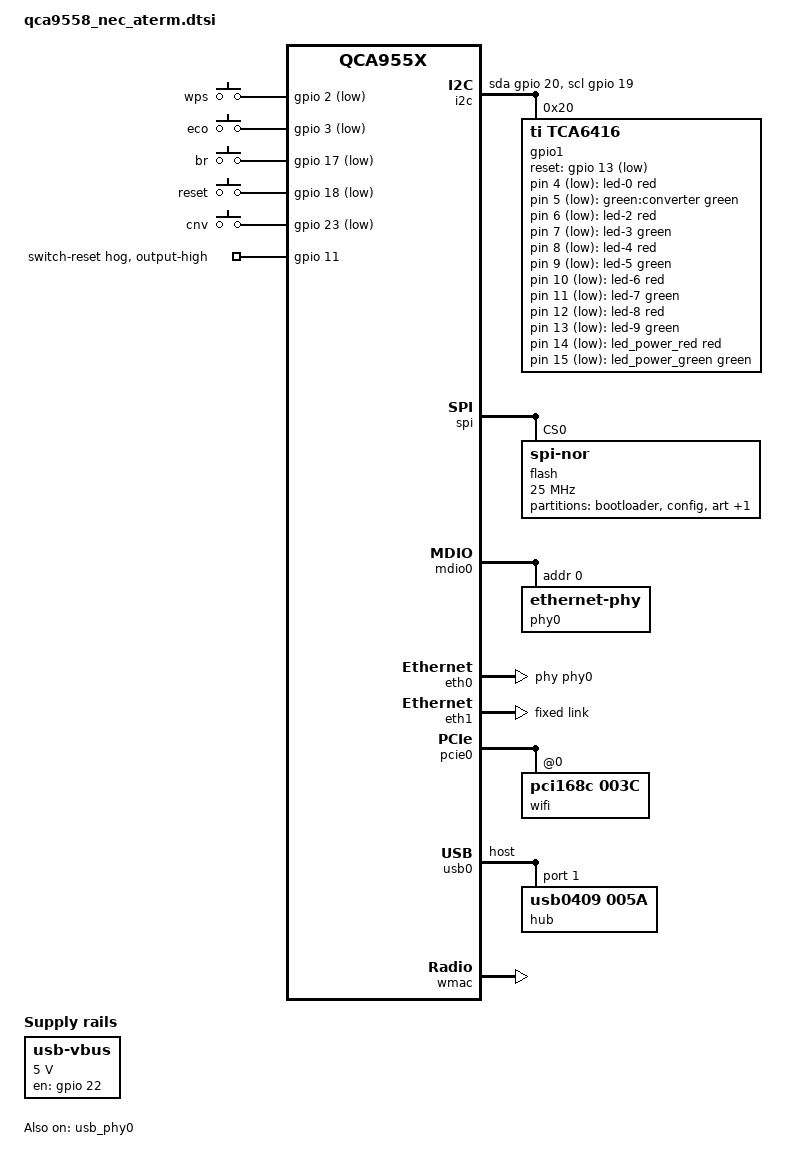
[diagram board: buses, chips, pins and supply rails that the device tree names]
// SPDX-License-Identifier: GPL-2.0-or-later OR MIT
/dts-v1/;

#include <dt-bindings/gpio/gpio.h>
#include <dt-bindings/input/input.h>
#include <dt-bindings/leds/common.h>

#include "qca955x.dtsi"

/ {
	chosen {
		/*
		 * don't specify bootargs property in DeviceTree to
		 * enable a console with a default baudrate (9600)
		 * or passed console= parameter from the bootloader
		 */
		/delete-property/ bootargs;
		stdout-path = &uart0;
	};

	aliases {
		led-boot = &led_power_green;
		led-failsafe = &led_power_red;
		led-running = &led_power_green;
		led-upgrade = &led_power_green;
		label-mac-device = &eth0;
	};

	i2c {
		compatible = "i2c-gpio";

		pinctrl-names = "default";
		pinctrl-0 = <&pmx_gpio_i2c_pins>;
		sda-gpios = <&gpio 20 (GPIO_ACTIVE_HIGH | GPIO_OPEN_DRAIN)>;
		scl-gpios = <&gpio 19 (GPIO_ACTIVE_HIGH | GPIO_OPEN_DRAIN)>;
		#address-cells = <1>;
		#size-cells = <0>;

		gpio1: gpio@20 {
			compatible = "ti,tca6416";
			reg = <0x20>;
			reset-gpios = <&gpio 13 GPIO_ACTIVE_LOW>;
			gpio-controller;
			#gpio-cells = <2>;

			usb-hub-reset {
				gpio-hog;
				gpios = <0 GPIO_ACTIVE_HIGH>;
				output-high;
			};
		};
	};

	keys {
		compatible = "gpio-keys";
		pinctrl-names = "default";
		pinctrl-0 = <&jtag_disable_pins>;

		button-wps {
			label = "wps";
			gpios = <&gpio 2 GPIO_ACTIVE_LOW>;
			linux,code = <KEY_WPS_BUTTON>;
			debounce-interval = <60>;
		};

		button-eco {
			label = "eco";
			gpios = <&gpio 3 GPIO_ACTIVE_LOW>;
			linux,code = <BTN_0>;
			debounce-interval = <60>;
		};

		switch-bridge {
			label = "br";
			gpios = <&gpio 17 GPIO_ACTIVE_LOW>;
			linux,code = <BTN_1>;
			debounce-interval = <60>;
		};

		button-reset {
			label = "reset";
			gpios = <&gpio 18 GPIO_ACTIVE_LOW>;
			linux,code = <KEY_RESTART>;
			debounce-interval = <60>;
		};

		switch-converter {
			label = "cnv";
			gpios = <&gpio 23 GPIO_ACTIVE_LOW>;
			linux,code = <BTN_2>;
			debounce-interval = <60>;
		};
	};

	leds {
		compatible = "gpio-leds";

		led-0 {
			gpios = <&gpio1 4 GPIO_ACTIVE_LOW>;
			color = <LED_COLOR_ID_RED>;
			function = "converter";
		};

		led-1 {
			label = "green:converter";
			gpios = <&gpio1 5 GPIO_ACTIVE_LOW>;
			color = <LED_COLOR_ID_GREEN>;
			function = "converter";
		};

		led-2 {
			gpios = <&gpio1 6 GPIO_ACTIVE_LOW>;
			color = <LED_COLOR_ID_RED>;
			function = "tv";
		};

		led-3 {
			gpios = <&gpio1 7 GPIO_ACTIVE_LOW>;
			color = <LED_COLOR_ID_GREEN>;
			function = "tv";
		};

		led-4 {
			gpios = <&gpio1 8 GPIO_ACTIVE_LOW>;
			color = <LED_COLOR_ID_RED>;
			function = LED_FUNCTION_WLAN_5GHZ;
		};

		led-5 {
			gpios = <&gpio1 9 GPIO_ACTIVE_LOW>;
			color = <LED_COLOR_ID_GREEN>;
			function = LED_FUNCTION_WLAN_5GHZ;
			linux,default-trigger = "phy0tpt";
		};

		led-6 {
			gpios = <&gpio1 10 GPIO_ACTIVE_LOW>;
			color = <LED_COLOR_ID_RED>;
			function = LED_FUNCTION_WLAN_2GHZ;
		};

		led-7 {
			gpios = <&gpio1 11 GPIO_ACTIVE_LOW>;
			color = <LED_COLOR_ID_GREEN>;
			function = LED_FUNCTION_WLAN_2GHZ;
			linux,default-trigger = "phy1tpt";
		};

		led-8 {
			gpios = <&gpio1 12 GPIO_ACTIVE_LOW>;
			color = <LED_COLOR_ID_RED>;
			function = LED_FUNCTION_WAN_ONLINE;
		};

		led-9 {
			gpios = <&gpio1 13 GPIO_ACTIVE_LOW>;
			color = <LED_COLOR_ID_GREEN>;
			function = LED_FUNCTION_WAN_ONLINE;
		};

		led_power_red: led-10 {
			gpios = <&gpio1 14 GPIO_ACTIVE_LOW>;
			color = <LED_COLOR_ID_RED>;
			function = LED_FUNCTION_POWER;
		};

		led_power_green: led-11 {
			gpios = <&gpio1 15 GPIO_ACTIVE_LOW>;
			color = <LED_COLOR_ID_GREEN>;
			function = LED_FUNCTION_POWER;
			default-state = "on";
		};
	};

	regulator {
		compatible = "regulator-fixed";
		regulator-name = "usb-vbus";
		regulator-min-microvolt = <5000000>;
		regulator-max-microvolt = <5000000>;
		gpios = <&gpio 22 GPIO_ACTIVE_HIGH>;
		enable-active-high;
		regulator-always-on;
	};
};

&spi {
	status = "okay";

	flash@0 {
		compatible = "jedec,spi-nor";
		reg = <0>;
		spi-max-frequency = <25000000>;

		partitions {
			compatible = "fixed-partitions";
			#address-cells = <1>;
			#size-cells = <1>;

			/*
			 * since the OEM bootloader requires unknown
			 * filesystem on firmware area, needs to be
			 * replaced to u-boot before OpenWrt installation
			 */
			partition@0 {
				label = "bootloader";
				reg = <0x000000 0x020000>;
			};

			/* not compatible with u-boot */
			partition@20000 {
				label = "config";
				reg = <0x020000 0x010000>;
				read-only;

				nvmem-layout {
					compatible = "fixed-layout";
					#address-cells = <1>;
					#size-cells = <1>;

					macaddr_config_0: macaddr@0 {
						reg = <0x0 0x6>;
					};

					macaddr_config_6: macaddr@6 {
						reg = <0x6 0x6>;
					};

					macaddr_config_c: macaddr@c {
						reg = <0xc 0x6>;
					};

					macaddr_config_12: macaddr@12 {
						reg = <0x12 0x6>;
					};
				};
			};

			partition@30000 {
				label = "art";
				reg = <0x030000 0x010000>;
				read-only;

				nvmem-layout {
					compatible = "fixed-layout";
					#address-cells = <1>;
					#size-cells = <1>;

					cal_art_1000: calibration@1000 {
						reg = <0x1000 0x440>;
					};

					cal_art_5000: calibration@5000 {
						reg = <0x5000 0x844>;
					};
				};
			};

			partition@40000 {
				compatible = "denx,uimage";
				label = "firmware";
				reg = <0x040000 0xfc0000>;
			};
		};
	};
};

&mdio0 {
	status = "okay";

	phy0: ethernet-phy@0 {
		reg = <0>;

		qca,ar8327-initvals = <
			0x04 0x00080080 /* PORT0_PAD_MODE_CTRL */
			0x08 0x00000000 /* PORT5_PAD_MODE_CTRL */
			0x0c 0x07600000 /* PORT6_PAD_MODE_CTRL */
			0x10 0xa12613a0 /* POWER_ON_STRAP */
			0x50 0xcc36cc36 /* LED_CTRL0 */
			0x54 0xca36ca36 /* LED_CTRL1 */
			0x58 0xc936c936 /* LED_CTRL2 */
			0x5c 0x03ffff00 /* LED_CTRL3 */
			0x7c 0x0000007e /* PORT0_STATUS */
			0x94 0x0000007e /* PORT6_STATUS */
			0xe0 0xc74164d0 /* SGMII_CONTROL */
		>;
	};
};

&eth0 {
	status = "okay";

	nvmem-cells = <&macaddr_config_c>;
	nvmem-cell-names = "mac-address";
	phy-handle = <&phy0>;
	qca955x-sgmii-fixup;

	gmac-config {
		device = <&gmac>;

		rgmii-enabled = <1>;
		rxdv-delay = <2>;
		rxd-delay = <2>;
	};
};

&eth1 {
	status = "okay";

	nvmem-cells = <&macaddr_config_6>;
	nvmem-cell-names = "mac-address";
	pll-data = <0x03000000 0x00000101 0x00001616>;

	fixed-link {
		speed = <1000>;
		full-duplex;
	};
};

&gpio {
	switch-reset {
		gpio-hog;
		gpios = <11 GPIO_ACTIVE_HIGH>;
		output-high;
	};
};

&pcie0 {
	status = "okay";

	wifi@0,0 {
		compatible = "pci168c,003c";
		reg = <0x0000 0 0 0 0>;
		nvmem-cells = <&cal_art_5000>, <&macaddr_config_12>;
		nvmem-cell-names = "calibration", "mac-address";
	};
};

&pinmux {
	/* mux GPIO19/20 as GPIO instead of native I2C on QCA9558 */
	pmx_gpio_i2c_pins: gpio-i2c-pins {
		pinctrl-single,bits = <0x10 0x0 0xff000000>,
				      <0x14 0x0 0xff>;
	};
};

&usb_phy0 {
	status = "okay";
};

&usb0 {
	status = "okay";
	#address-cells = <1>;
	#size-cells = <0>;

	dr_mode = "host";

	/delete-node/ port@1;

	/* NEC uPD720114 */
	hub@1 {
		compatible = "usb0409,005a";
		reg = <1>;
	};
};

&wmac {
	status = "okay";

	nvmem-cells = <&cal_art_1000>, <&macaddr_config_0>;
	nvmem-cell-names = "calibration", "mac-address";
};
